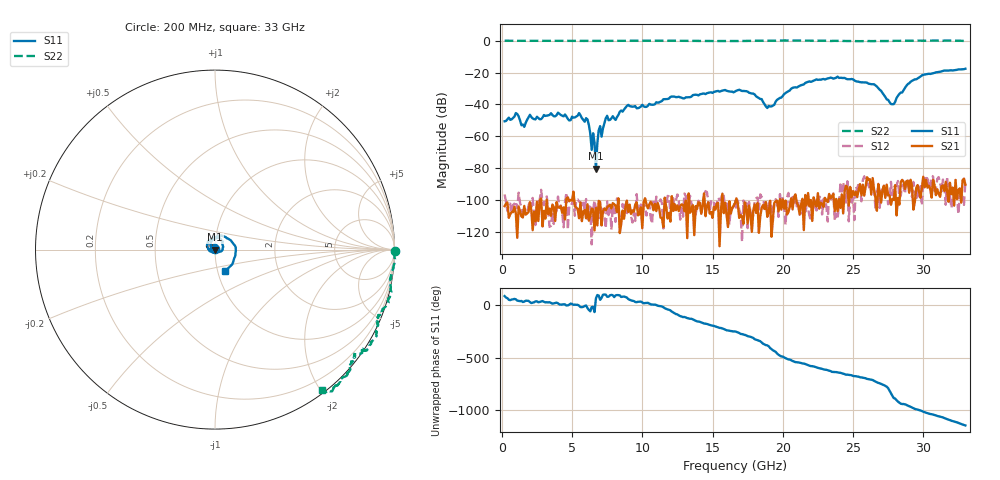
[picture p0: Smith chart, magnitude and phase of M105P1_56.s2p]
# GHZ S RI R 50
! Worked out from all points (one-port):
!   329 points, 200 MHz to 33 GHz, reference 50 ohm
!   lowest |S11| = -80.4 dB at 6.7 GHz (marker M1), VSWR 1.00, Z = 50 + j0.00849 ohm
!   |S11| at or under -10 dB: start of sweep to end of sweep
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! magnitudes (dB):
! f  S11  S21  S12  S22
! 200 MHz  -50.6  -103.9  -96.5  0.0
! 1 GHz  -45.4  -108.4  -100.8  0.0
! 1.6 GHz  -54.1  -103.7  -105.5  0.0
! 2 GHz  -46.5  -101.4  -100.5  0.0
! 5.7 GHz  -48.5  -113.3  -104.5  -0.1
! 6.1 GHz  -49.4  -102.7  -111.8  -0.1
! 6.4 GHz  -68.5  -105.3  -128.0  -0.1
! 6.5 GHz  -58.1  -106.0  -106.2  -0.1
! 6.6 GHz  -63.9  -119.1  -100.2  -0.1
! 6.7 GHz  -80.4  -105.1  -105.6  -0.1
! 6.9 GHz  -56.2  -100.6  -111.6  -0.1
! 7 GHz  -53.6  -101.3  -102.6  -0.1
! 7.1 GHz  -60.2  -116.0  -106.1  -0.1
! 7.5 GHz  -47.1  -104.6  -100.9  -0.1
! 11.2 GHz  -38.7  -105.2  -101.9  0.1
! 16.6 GHz  -31.9  -102.0  -99.8  -0.1
! 18.9 GHz  -42.2  -110.6  -106.7  0.1
! 22.1 GHz  -25.5  -113.1  -106.1  0.1
! 26.5 GHz  -27.3  -93.5  -93.9  -0.1
! 27.6 GHz  -38.6  -97.1  -100.6  -0.1
! 29.9 GHz  -21.8  -92.8  -103.4  0.0
! 33 GHz  -17.6  -90.4  -88.4  -0.2
